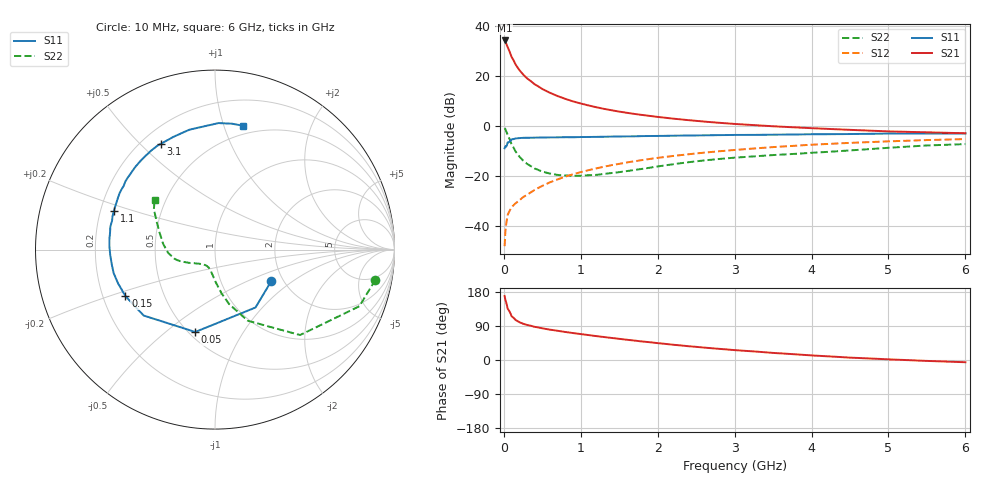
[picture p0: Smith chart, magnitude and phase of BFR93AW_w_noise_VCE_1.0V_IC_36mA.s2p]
! Infineon Technologies  Discrete & RF Semiconductors
! BFR93AW
! VCE =  1.0 V,  IC =  36 mA
! Common Emitter S-Parameters:  Jan 2017
# GHz  S  MA  R  50
!  f  S11  S21  S12  S22
! GHz  MAG  ANG  MAG  ANG  MAG  ANG  MAG  ANG
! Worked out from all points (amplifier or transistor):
!   77 points, 10 MHz to 6 GHz, reference 50 ohm
!   highest |S21| = 34.1 dB at 10 MHz (marker M1)
!   |S21| within 3 dB of that: start of sweep to 54.71 MHz
!   unconditionally stable (mu >= 1): 335 MHz to 2.945 GHz
!   at 130 MHz: K = 0.66, MSG = 28.7 dB, |S12| = -31.5 dB
!   at 2.2 GHz: K = 1.04, MAG = 6.2 dB, |S12| = -12.0 dB
!   at 6 GHz: K = 0.98, MSG = 1.2 dB, |S12| = -5.2 dB
!   lowest NFmin = 1.95 dB at 450 MHz
!   S11 on the Smith chart (normalised r, x): 10 MHz: 1.74, -0.70; 50 MHz: 0.54, -0.64; 150 MHz: 0.30, -0.22; 1.1 GHz: 0.26, +0.17; 3.1 GHz: 0.27, +0.58; 6 GHz: 0.42, +1.16
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0.01  0.3594 -29.1  50.73 168.9  0.004 78.4  0.9091 -10.7
0.02  0.3937 -55.0  48.99 158.7  0.0078 75.4  0.8643 -21.4
0.05  0.472 -103.5  37.31 135.3  0.0168 60.4  0.6717 -45.1
0.1  0.5413 -137.3  24.04 115.6  0.0238 54.9  0.4362 -65.3
0.15  0.5622 -152.5  17.08 106.0  0.0285 54.7  0.3142 -75.4
0.2  0.5721 -160.9  13.13 100.0  0.0326 58.2  0.2469 -81.4
0.25  0.5796 -166.9  10.66 95.7  0.038 59.6  0.2042 -85.7
0.3  0.5808 -171.1  8.94 92.6  0.0421 62.2  0.1758 -89.6
0.4  0.5845 -177.0  6.788 87.5  0.0528 65.5  0.1419 -95.4
0.5  0.5889 178.1  5.458 83.6  0.0639 67.1  0.123 -100.7
0.6  0.5913 174.3  4.581 80.1  0.0752 67.9  0.1121 -105.7
0.7  0.5923 170.8  3.94 77.1  0.086 68.7  0.1054 -109.8
0.9  0.5954 164.5  3.087 71.1  0.1085 68.4  0.1016 -118.6
1.1  0.6025 159.2  2.565 65.8  0.1311 67.6  0.104 -125.6
1.3  0.609 154.1  2.196 60.7  0.1535 66.2  0.1103 -132.6
1.5  0.6173 149.6  1.932 55.9  0.1755 64.6  0.1199 -139.3
2.1  0.6353 136.3  1.457 42.5  0.2414 58.6  0.1638 -153.4
2.6  0.6499 126.5  1.224 32.8  0.2931 53.1  0.2049 -161.8
3.1  0.6622 117.2  1.073 24.7  0.3409 47.3  0.2385 -169.6
4.1  0.6837 100.6  0.889 11.0  0.4293 35.7  0.2971 171.1
5.1  0.705 87.2  0.772 0.9  0.4988 24.2  0.3747 151.7
6  0.7075 77.2  0.715 -5.9  0.547 14.5  0.4345 140.8
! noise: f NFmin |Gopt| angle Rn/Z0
0.45  1.95  0.21  178  0.16
0.9  2.22  0.28  -172  0.17
1.9  3.28  0.52  -134  0.32
2.4  3.96  0.56  -123  0.61
